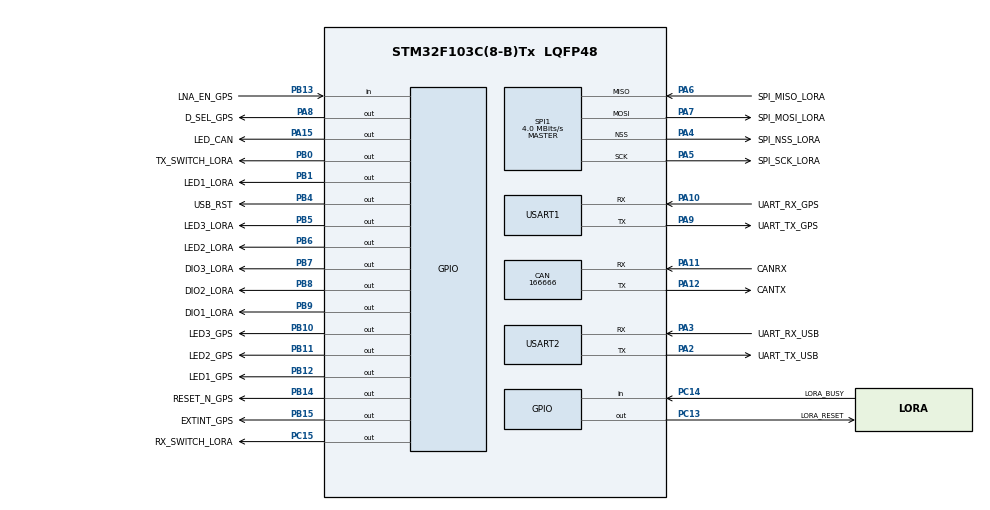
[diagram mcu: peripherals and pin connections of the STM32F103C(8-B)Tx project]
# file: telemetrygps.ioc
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CAN.CalculateBaudRate=166666
CAN.CalculateTimeBit=6000
CAN.CalculateTimeQuantum=2000.0
Mcu.Family=STM32F1
Mcu.Name=STM32F103C(8-B)Tx
Mcu.Package=LQFP48
NVIC.PriorityGroup=NVIC_PRIORITYGROUP_4
PA10.GPIO_Label=UART_RX_GPS
PA10.Mode=Asynchronous
PA10.Signal=USART1_RX
PA11.GPIO_Label=CANRX
PA11.Mode=CAN_Activate
PA11.Signal=CAN_RX
PA12.GPIO_Label=CANTX
PA12.Mode=CAN_Activate
PA12.Signal=CAN_TX
PA13.GPIO_Label=SWDIO
PA13.Mode=Trace_Asynchronous_SW
PA13.Signal=SYS_JTMS-SWDIO
PA14.GPIO_Label=SWCLK
PA14.Mode=Trace_Asynchronous_SW
PA14.Signal=SYS_JTCK-SWCLK
PA15.GPIO_Label=LED_CAN
PA15.Signal=GPIO_Output
PA2.GPIO_Label=UART_TX_USB
PA2.Mode=Asynchronous
PA2.Signal=USART2_TX
PA3.GPIO_Label=UART_RX_USB
PA3.Mode=Asynchronous
PA3.Signal=USART2_RX
PA4.GPIO_Label=SPI_NSS_LORA
PA4.Mode=NSS_Signal_Hard_Output
PA4.Signal=SPI1_NSS
PA5.GPIO_Label=SPI_SCK_LORA
PA5.Mode=Full_Duplex_Master
PA5.Signal=SPI1_SCK
PA6.GPIO_Label=SPI_MISO_LORA
PA6.Mode=Full_Duplex_Master
PA6.Signal=SPI1_MISO
PA7.GPIO_Label=SPI_MOSI_LORA
PA7.Mode=Full_Duplex_Master
PA7.Signal=SPI1_MOSI
PA8.GPIO_Label=D_SEL_GPS
PA8.Signal=GPIO_Output
PA9.GPIO_Label=UART_TX_GPS
PA9.Mode=Asynchronous
PA9.Signal=USART1_TX
PB0.GPIO_Label=TX_SWITCH_LORA
PB0.Signal=GPIO_Output
PB1.GPIO_Label=LED1_LORA
PB1.Signal=GPIO_Output
PB10.GPIO_Label=LED3_GPS
PB10.Signal=GPIO_Output
PB11.GPIO_Label=LED2_GPS
PB11.Signal=GPIO_Output
PB12.GPIO_Label=LED1_GPS
PB12.Signal=GPIO_Output
PB13.GPIO_Label=LNA_EN_GPS
PB13.Signal=GPIO_Input
PB14.GPIO_Label=RESET_N_GPS
PB14.PinState=GPIO_PIN_SET
PB14.Signal=GPIO_Output
PB15.GPIO_Label=EXTINT_GPS
PB15.Signal=GPIO_Output
PB3.GPIO_Label=SWO
PB3.Mode=Trace_Asynchronous_SW
PB3.Signal=SYS_JTDO-TRACESWO
PB4.GPIO_Label=USB_RST
PB4.Signal=GPIO_Output
PB5.GPIO_Label=LED3_LORA
PB5.Signal=GPIO_Output
PB6.GPIO_Label=LED2_LORA
PB6.Signal=GPIO_Output
PB7.GPIO_Label=DIO3_LORA
PB7.Signal=GPIO_Output
PB8.GPIO_Label=DIO2_LORA
PB8.Signal=GPIO_Output
PB9.GPIO_Label=DIO1_LORA
PB9.Signal=GPIO_Output
PC13-TAMPER-RTC.GPIO_Label=LORA_RESET
PC13-TAMPER-RTC.Signal=GPIO_Output
PC14-OSC32_IN.GPIO_Label=LORA_BUSY
PC14-OSC32_IN.Signal=GPIO_Input
PC15-OSC32_OUT.GPIO_Label=RX_SWITCH_LORA
PC15-OSC32_OUT.Signal=GPIO_Output
ProjectManager.HeapSize=0x200
ProjectManager.StackSize=0x400
ProjectManager.TargetToolchain=STM32CubeIDE
RCC.APB1Freq_Value=8000000
RCC.APB2Freq_Value=8000000
SPI1.CalculateBaudRate=4.0 MBits/s
SPI1.Direction=SPI_DIRECTION_2LINES
SPI1.Mode=SPI_MODE_MASTER
SPI1.VirtualNSS=VM_NSSHARD
SPI1.VirtualType=VM_MASTER
USART1.VirtualMode=VM_ASYNC
USART2.VirtualMode=VM_ASYNC
board=custom

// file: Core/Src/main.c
/* USER CODE BEGIN Header */
/**
  ******************************************************************************
  * @file           : main.c
  * @brief          : Main program body
  ******************************************************************************
  * @attention
  *
  * Copyright (c) 2023 STMicroelectronics.
  * All rights reserved.
  *
  * This software is licensed under terms that can be found in the LICENSE file
  * in the root directory of this software component.
  * If no LICENSE file comes with this software, it is provided AS-IS.
  *
  ******************************************************************************
  */
/* USER CODE END Header */
#include "main.h"

/* USER CODE BEGIN Includes */
#include "telemetry.h"
#include "gps.h"
#include <stdio.h>
#include "sx126x.h"
/* USER CODE END Includes */

CAN_HandleTypeDef hcan;

SPI_HandleTypeDef hspi1;

UART_HandleTypeDef huart1;
UART_HandleTypeDef huart2;

void SystemClock_Config(void);
static void MX_GPIO_Init(void);
static void MX_CAN_Init(void);
static void MX_SPI1_Init(void);
static void MX_USART1_UART_Init(void);
static void MX_USART2_UART_Init(void);

int main(void)
{

  /* MCU Configuration--------------------------------------------------------*/

  /* Reset of all peripherals, Initializes the Flash interface and the Systick. */
  HAL_Init();

  /* Configure the system clock */
  SystemClock_Config();

  /* Initialize all configured peripherals */
  MX_GPIO_Init();
  MX_CAN_Init();
  MX_SPI1_Init();
  MX_USART1_UART_Init();
  MX_USART2_UART_Init();

  /* Infinite loop */
  while (1)
  {

    /* USER CODE BEGIN 3 */
	  uint16_t address = 0x0385;
	  uint8_t size = 1;
	  uint8_t in[size];
	  uint8_t out[size];
	  in[0] = 'a';
	  sx126x_write_register(0 ,address ,in ,size );
	  sx126x_read_register(0 ,address ,out ,size );
	  for(int i = 0; i < size; i++){
		  if(in[i] == out[i]) {
			  HAL_GPIO_WritePin(LED1_LORA_GPIO_Port,LED1_LORA_Pin, GPIO_PIN_SET);
			  HAL_Delay(100);
			  HAL_GPIO_WritePin(LED1_LORA_GPIO_Port,LED1_LORA_Pin, GPIO_PIN_RESET);
			  HAL_Delay(100);
		  }
		  else{
			  HAL_GPIO_WritePin(LED2_GPS_GPIO_Port,LED2_GPS_Pin, GPIO_PIN_SET);
			  HAL_Delay(1000);
			  HAL_GPIO_WritePin(LED2_GPS_GPIO_Port,LED2_GPS_Pin, GPIO_PIN_RESET);
			  HAL_Delay(1000);
		  }
	  }
  }
  /* USER CODE END 3 */
}

void SystemClock_Config(void)
{
  RCC_OscInitTypeDef RCC_OscInitStruct = {0};
  RCC_ClkInitTypeDef RCC_ClkInitStruct = {0};

  /** Initializes the RCC Oscillators according to the specified parameters
  * in the RCC_OscInitTypeDef structure.
  */
  RCC_OscInitStruct.OscillatorType = RCC_OSCILLATORTYPE_HSI;
  RCC_OscInitStruct.HSIState = RCC_HSI_ON;
  RCC_OscInitStruct.HSICalibrationValue = RCC_HSICALIBRATION_DEFAULT;
  RCC_OscInitStruct.PLL.PLLState = RCC_PLL_NONE;
  if (HAL_RCC_OscConfig(&RCC_OscInitStruct) != HAL_OK)
  {
    Error_Handler();
  }

  /** Initializes the CPU, AHB and APB buses clocks
  */
  RCC_ClkInitStruct.ClockType = RCC_CLOCKTYPE_HCLK|RCC_CLOCKTYPE_SYSCLK
                              |RCC_CLOCKTYPE_PCLK1|RCC_CLOCKTYPE_PCLK2;
  RCC_ClkInitStruct.SYSCLKSource = RCC_SYSCLKSOURCE_HSI;
  RCC_ClkInitStruct.AHBCLKDivider = RCC_SYSCLK_DIV1;
  RCC_ClkInitStruct.APB1CLKDivider = RCC_HCLK_DIV1;
  RCC_ClkInitStruct.APB2CLKDivider = RCC_HCLK_DIV1;

  if (HAL_RCC_ClockConfig(&RCC_ClkInitStruct, FLASH_LATENCY_0) != HAL_OK)
  {
    Error_Handler();
  }
}

static void MX_CAN_Init(void)
{

  hcan.Instance = CAN1;
  hcan.Init.Prescaler = 16;
  hcan.Init.Mode = CAN_MODE_NORMAL;
  hcan.Init.SyncJumpWidth = CAN_SJW_1TQ;
  hcan.Init.TimeSeg1 = CAN_BS1_1TQ;
  hcan.Init.TimeSeg2 = CAN_BS2_1TQ;
  hcan.Init.TimeTriggeredMode = DISABLE;
  hcan.Init.AutoBusOff = DISABLE;
  hcan.Init.AutoWakeUp = DISABLE;
  hcan.Init.AutoRetransmission = DISABLE;
  hcan.Init.ReceiveFifoLocked = DISABLE;
  hcan.Init.TransmitFifoPriority = DISABLE;
  if (HAL_CAN_Init(&hcan) != HAL_OK)
  {
    Error_Handler();
  }

}

static void MX_SPI1_Init(void)
{

  /* SPI1 parameter configuration*/
  hspi1.Instance = SPI1;
  hspi1.Init.Mode = SPI_MODE_MASTER;
  hspi1.Init.Direction = SPI_DIRECTION_2LINES;
  hspi1.Init.DataSize = SPI_DATASIZE_8BIT;
  hspi1.Init.CLKPolarity = SPI_POLARITY_LOW;
  hspi1.Init.CLKPhase = SPI_PHASE_1EDGE;
  hspi1.Init.NSS = SPI_NSS_HARD_OUTPUT;
  hspi1.Init.BaudRatePrescaler = SPI_BAUDRATEPRESCALER_2;
  hspi1.Init.FirstBit = SPI_FIRSTBIT_MSB;
  hspi1.Init.TIMode = SPI_TIMODE_DISABLE;
  hspi1.Init.CRCCalculation = SPI_CRCCALCULATION_DISABLE;
  hspi1.Init.CRCPolynomial = 10;
  if (HAL_SPI_Init(&hspi1) != HAL_OK)
  {
    Error_Handler();
  }

}

static void MX_USART1_UART_Init(void)
{

  huart1.Instance = USART1;
  huart1.Init.BaudRate = 115200;
  huart1.Init.WordLength = UART_WORDLENGTH_8B;
  huart1.Init.StopBits = UART_STOPBITS_1;
  huart1.Init.Parity = UART_PARITY_NONE;
  huart1.Init.Mode = UART_MODE_TX_RX;
  huart1.Init.HwFlowCtl = UART_HWCONTROL_NONE;
  huart1.Init.OverSampling = UART_OVERSAMPLING_16;
  if (HAL_UART_Init(&huart1) != HAL_OK)
  {
    Error_Handler();
  }

}

static void MX_USART2_UART_Init(void)
{

  huart2.Instance = USART2;
  huart2.Init.BaudRate = 115200;
  huart2.Init.WordLength = UART_WORDLENGTH_8B;
  huart2.Init.StopBits = UART_STOPBITS_1;
  huart2.Init.Parity = UART_PARITY_NONE;
  huart2.Init.Mode = UART_MODE_TX_RX;
  huart2.Init.HwFlowCtl = UART_HWCONTROL_NONE;
  huart2.Init.OverSampling = UART_OVERSAMPLING_16;
  if (HAL_UART_Init(&huart2) != HAL_OK)
  {
    Error_Handler();
  }

}

static void MX_GPIO_Init(void)
{
  GPIO_InitTypeDef GPIO_InitStruct = {0};

  /* GPIO Ports Clock Enable */
  __HAL_RCC_GPIOC_CLK_ENABLE();
  __HAL_RCC_GPIOA_CLK_ENABLE();
  __HAL_RCC_GPIOB_CLK_ENABLE();

  /*Configure GPIO pin Output Level */
  HAL_GPIO_WritePin(GPIOC, LORA_RESET_Pin|RX_SWITCH_LORA_Pin, GPIO_PIN_RESET);

  /*Configure GPIO pin Output Level */
  HAL_GPIO_WritePin(GPIOB, TX_SWITCH_LORA_Pin|LED1_LORA_Pin|LED3_GPS_Pin|LED2_GPS_Pin
                          |LED1_GPS_Pin|EXTINT_GPS_Pin|USB_RST_Pin|LED3_LORA_Pin
                          |LED2_LORA_Pin|DIO3_LORA_Pin|DIO2_LORA_Pin|DIO1_LORA_Pin, GPIO_PIN_RESET);

  /*Configure GPIO pin Output Level */
  HAL_GPIO_WritePin(RESET_N_GPS_GPIO_Port, RESET_N_GPS_Pin, GPIO_PIN_SET);

  /*Configure GPIO pin Output Level */
  HAL_GPIO_WritePin(GPIOA, D_SEL_GPS_Pin|LED_CAN_Pin, GPIO_PIN_RESET);

  /*Configure GPIO pins : LORA_RESET_Pin RX_SWITCH_LORA_Pin */
  GPIO_InitStruct.Pin = LORA_RESET_Pin|RX_SWITCH_LORA_Pin;
  GPIO_InitStruct.Mode = GPIO_MODE_OUTPUT_PP;
  GPIO_InitStruct.Pull = GPIO_NOPULL;
  GPIO_InitStruct.Speed = GPIO_SPEED_FREQ_LOW;
  HAL_GPIO_Init(GPIOC, &GPIO_InitStruct);

  /*Configure GPIO pin : LORA_BUSY_Pin */
  GPIO_InitStruct.Pin = LORA_BUSY_Pin;
  GPIO_InitStruct.Mode = GPIO_MODE_INPUT;
  GPIO_InitStruct.Pull = GPIO_NOPULL;
  HAL_GPIO_Init(LORA_BUSY_GPIO_Port, &GPIO_InitStruct);

  /*Configure GPIO pins : TX_SWITCH_LORA_Pin LED1_LORA_Pin LED3_GPS_Pin LED2_GPS_Pin
                           LED1_GPS_Pin RESET_N_GPS_Pin EXTINT_GPS_Pin USB_RST_Pin
                           LED3_LORA_Pin LED2_LORA_Pin DIO3_LORA_Pin DIO2_LORA_Pin
                           DIO1_LORA_Pin */
  GPIO_InitStruct.Pin = TX_SWITCH_LORA_Pin|LED1_LORA_Pin|LED3_GPS_Pin|LED2_GPS_Pin
                          |LED1_GPS_Pin|RESET_N_GPS_Pin|EXTINT_GPS_Pin|USB_RST_Pin
                          |LED3_LORA_Pin|LED2_LORA_Pin|DIO3_LORA_Pin|DIO2_LORA_Pin
                          |DIO1_LORA_Pin;
  GPIO_InitStruct.Mode = GPIO_MODE_OUTPUT_PP;
  GPIO_InitStruct.Pull = GPIO_NOPULL;
  GPIO_InitStruct.Speed = GPIO_SPEED_FREQ_LOW;
  HAL_GPIO_Init(GPIOB, &GPIO_InitStruct);

  /*Configure GPIO pin : LNA_EN_GPS_Pin */
  GPIO_InitStruct.Pin = LNA_EN_GPS_Pin;
  GPIO_InitStruct.Mode = GPIO_MODE_INPUT;
  GPIO_InitStruct.Pull = GPIO_NOPULL;
  HAL_GPIO_Init(LNA_EN_GPS_GPIO_Port, &GPIO_InitStruct);

  /*Configure GPIO pins : D_SEL_GPS_Pin LED_CAN_Pin */
  GPIO_InitStruct.Pin = D_SEL_GPS_Pin|LED_CAN_Pin;
  GPIO_InitStruct.Mode = GPIO_MODE_OUTPUT_PP;
  GPIO_InitStruct.Pull = GPIO_NOPULL;
  GPIO_InitStruct.Speed = GPIO_SPEED_FREQ_LOW;
  HAL_GPIO_Init(GPIOA, &GPIO_InitStruct);

}

void Error_Handler(void)
{
  __disable_irq();
  while (1)
  {
  }
}
